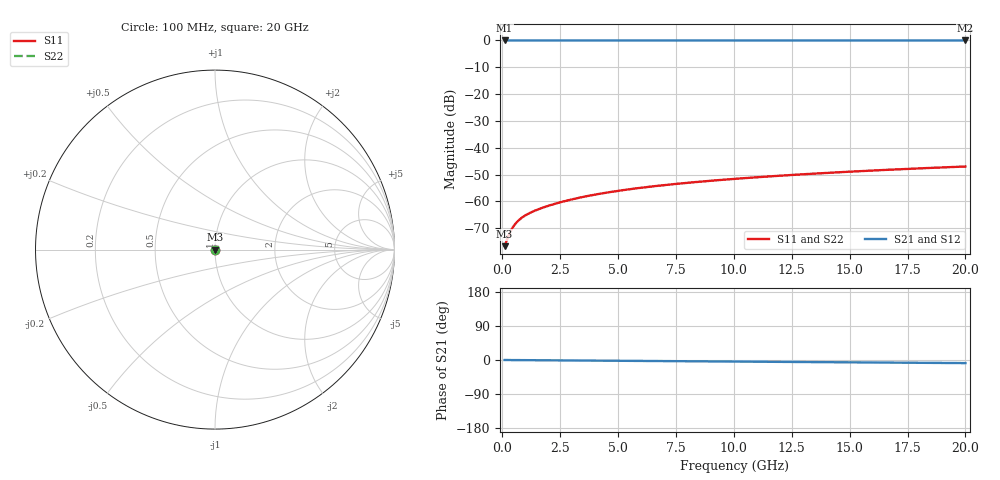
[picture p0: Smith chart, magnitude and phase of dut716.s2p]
! Touchstone file exported from HFSS 2026.1.0
!  File:  C:/ffzhzh/LocalFiles/Ansys_Project_Files/temp_train_TSV_716_1783182172_18472.aedt
!  Generated:  12:24:24 AM Jul  5, 2026
!  Design:  TSV
!  Project:  temp_train_TSV_716_1783182172_18472
! Variables:
!  h_bsmrdl = 2um
!  h_ox = 20um
!  h_rdl = 5um
!  h_sub = 82.83um
!  h_tmrdl = 5um
!  h_tsv = 82.83um
!  h_via = 3um
!  l_bsmrdl = 300um
!  l_sub = 420.08um
!  l_tmrdl = 200um
!  m_sub = 200um
!  pitch = 41.93um
!  r_tsv = 10.04um
!  s_tmrdl = 10um
!  w_bsmrdl = 18um
!  w_sub = 500um
!  w_tmrdl = 12um
!  x_tsv_center1 = 206um
!  x_tsv_center2 = 524um
!  x_tsv_center3 = 736um
!  x_tsv_center4 = 1054um
!  x_tsv_center5 = 1266um
!  x_tsv_center6 = 1584um
# GHz S MA R 50.000000
! Terminal data exported
! Port[1] = TSV1_1_T1
! Port[2] = TSV1_1_T2
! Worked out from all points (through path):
!   200 points, 100 MHz to 20 GHz, reference 50 ohm
!   highest |S21| = 0.00 dB at 100 MHz (marker M1); lowest = 0.0 dB at 20 GHz (marker M2)
!   group delay of S21, straight-line fit = 1.14 ps
!   lowest |S11| = -76.7 dB at 100 MHz (marker M3), VSWR 1.00, Z = 50 + j0.00659 ohm
!   |S11| at or under -10 dB: start of sweep to end of sweep
!   |S22| runs from -76.7 to -47.0 dB; largest |S21 - S12| = 3.7e-15
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0.1  0.0001465 26.7  0.9999 -0.0  0.9999 -0.0  0.0001465 26.7
! Gamma 0 0 0 0
! Port Impedance 50 0 50 0
0.2  0.0001928 41.9  0.9999 -0.1  0.9999 -0.1  0.0001928 41.9
0.3  0.0002473 49.0  0.9998 -0.1  0.9998 -0.1  0.0002473 49.0
0.4  0.0003016 52.1  0.9998 -0.2  0.9998 -0.2  0.0003016 52.1
0.5  0.0003526 53.5  0.9998 -0.2  0.9998 -0.2  0.0003526 53.5
0.6  0.0003993 54.1  0.9998 -0.3  0.9998 -0.3  0.0003993 54.1
0.7  0.0004419 54.4  0.9997 -0.3  0.9997 -0.3  0.0004419 54.4
0.8  0.0004809 54.5  0.9997 -0.3  0.9997 -0.3  0.0004809 54.5
1  0.0005503 54.8  0.9997 -0.4  0.9997 -0.4  0.0005503 54.8
1.4  0.0006696 55.8  0.9996 -0.6  0.9996 -0.6  0.0006696 55.8
2  0.000831 57.9  0.9996 -0.8  0.9996 -0.8  0.000831 57.9
2.7  0.001013 60.0  0.9995 -1.1  0.9995 -1.1  0.001013 60.0
3.5  0.001215 61.5  0.9994 -1.5  0.9994 -1.5  0.001215 61.5
4.2  0.001386 62.4  0.9994 -1.7  0.9994 -1.7  0.001386 62.4
5  0.001574 63.0  0.9993 -2.1  0.9993 -2.1  0.001574 63.0
5.9  0.001776 63.5  0.9993 -2.4  0.9993 -2.4  0.001776 63.5
6.8  0.001971 63.9  0.9992 -2.8  0.9992 -2.8  0.001971 63.9
8.3  0.002283 64.4  0.9991 -3.4  0.9991 -3.4  0.002283 64.4
10.1  0.002644 64.8  0.999 -4.2  0.999 -4.2  0.002645 64.8
13.4  0.003282 65.1  0.9989 -5.5  0.9989 -5.5  0.003282 65.1
16.7  0.003893 64.9  0.9988 -6.8  0.9988 -6.8  0.003893 64.9
20  0.004472 64.4  0.9986 -8.2  0.9986 -8.2  0.004473 64.4
